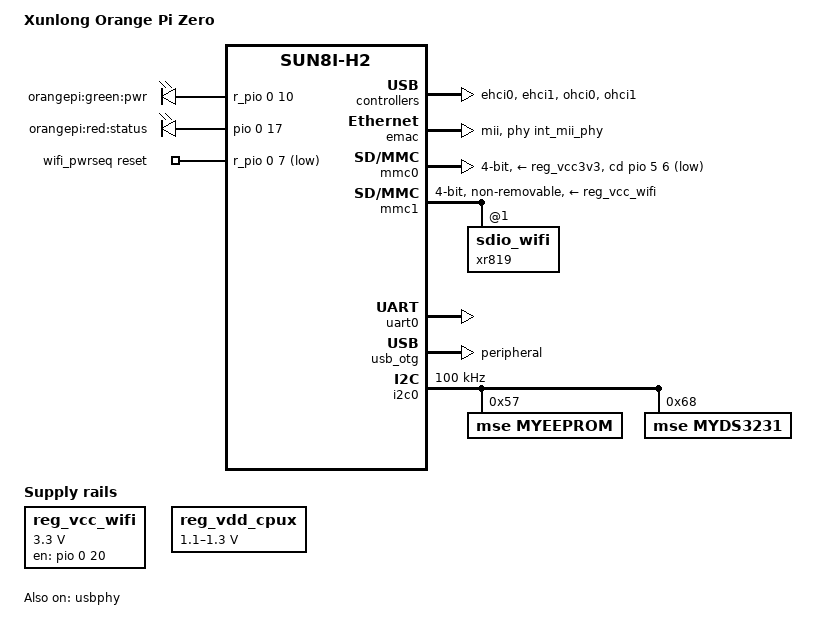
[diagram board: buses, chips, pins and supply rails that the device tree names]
/*
 * Copyright (C) 2019 Roberto Compañy <companyroberto@gmail.com>
 *
 * Based on sun8i-h2-orangepi-zero.dts
 *
 * Este archivo sigue con la practica de IMD de la MSE
 *
 *  a) Compilacion
 */

/dts-v1/;
#include "sun8i-h3.dtsi"
#include "sunxi-common-regulators.dtsi"

#include <dt-bindings/gpio/gpio.h>
#include <dt-bindings/input/input.h>

/ {
	model = "Xunlong Orange Pi Zero";
	compatible = "xunlong,orangepi-zero", "allwinner,sun8i-h2-plus";

	aliases {
		serial0 = &uart0;
		/* ethernet0 is the H3 emac, defined in sun8i-h3.dtsi */
		ethernet0 = &emac;
		ethernet1 = &xr819;
	};

	chosen {
		stdout-path = "serial0:115200n8";
	};

	leds {
		compatible = "gpio-leds";

		pwr_led {
			label = "orangepi:green:pwr";
			gpios = <&r_pio 0 10 GPIO_ACTIVE_HIGH>;
			default-state = "on";
		};

		status_led {
			label = "orangepi:red:status";
			gpios = <&pio 0 17 GPIO_ACTIVE_HIGH>;
		};
	};

	reg_vcc_wifi: reg_vcc_wifi {
		compatible = "regulator-fixed";
		regulator-min-microvolt = <3300000>;
		regulator-max-microvolt = <3300000>;
		regulator-name = "vcc-wifi";
		enable-active-high;
		gpio = <&pio 0 20 GPIO_ACTIVE_HIGH>;
	};

	reg_vdd_cpux: vdd-cpux-regulator {
		compatible = "regulator-gpio";
		regulator-name = "vdd-cpux";
		regulator-type = "voltage";
		regulator-boot-on;
		regulator-always-on;
		regulator-min-microvolt = <1100000>;
		regulator-max-microvolt = <1300000>;
		regulator-ramp-delay = <50>; /* 4ms */

		gpios = <&r_pio 0 6 GPIO_ACTIVE_HIGH>; /* PL6 */
		enable-active-high;
		gpios-states = <1>;
		states = <1100000 0
			  1300000 1>;
	};

	wifi_pwrseq: wifi_pwrseq {
		compatible = "mmc-pwrseq-simple";
		reset-gpios = <&r_pio 0 7 GPIO_ACTIVE_LOW>;
		post-power-on-delay-ms = <200>;
	};
};

&cpu0 {
	cpu-supply = <&reg_vdd_cpux>;
};

&ehci0 {
	status = "okay";
};

&ehci1 {
	status = "okay";
};

&emac {
	phy-handle = <&int_mii_phy>;
	phy-mode = "mii";
	allwinner,leds-active-low;
	status = "okay";
};

&mmc0 {
	vmmc-supply = <&reg_vcc3v3>;
	bus-width = <4>;
	cd-gpios = <&pio 5 6 GPIO_ACTIVE_LOW>; /* PF6 */
	status = "okay";
};

&mmc1 {
	vmmc-supply = <&reg_vcc_wifi>;
	mmc-pwrseq = <&wifi_pwrseq>;
	bus-width = <4>;
	non-removable;
	status = "okay";

	/*
	 * Explicitly define the sdio device, so that we can add an ethernet
	 * alias for it (which e.g. makes u-boot set a mac-address).
	 */
	xr819: sdio_wifi@1 {
		reg = <1>;
	};
};

&ohci0 {
	status = "okay";
};

&ohci1 {
	status = "okay";
};

&spi0 {
	/* Disable SPI NOR by default: it optional on Orange Pi Zero boards */
	status = "disabled";

	flash@0 {
		#address-cells = <1>;
		#size-cells = <1>;
		compatible = "mxicy,mx25l1606e", "winbond,w25q128";
		reg = <0>;
		spi-max-frequency = <40000000>;
	};
};

&uart0 {
	pinctrl-names = "default";
	pinctrl-0 = <&uart0_pins_a>;
	status = "okay";
};

&uart1 {
	pinctrl-names = "default";
	pinctrl-0 = <&uart1_pins>;
	status = "disabled";
};

&uart2 {
	pinctrl-names = "default";
	pinctrl-0 = <&uart2_pins>;
	status = "disabled";
};

&usb_otg {
	dr_mode = "peripheral";
	status = "okay";
};

&usbphy {
	/*
	 * USB Type-A port VBUS is always on. However, MicroUSB VBUS can only
	 * power up the board; when it's used as OTG port, this VBUS is
	 * always off even if the board is powered via GPIO pins.
	 */
	status = "okay";
	usb0_id_det-gpios = <&pio 6 12 GPIO_ACTIVE_HIGH>; /* PG12 */
};

&i2c0 {
	status = "okay";
	//pinctrl-names = "default";
	clock-frequency = <100000>;

	/* aca declaramos nuestros devices */

	myeeprom: myeeprom@57 {
		compatible = "mse,myeeprom";
		reg = <0x57>;
	};

	myds3231: myds3231@68 {
		compatible = "mse,myds3231";
		reg = <0x68>;
	};
};

